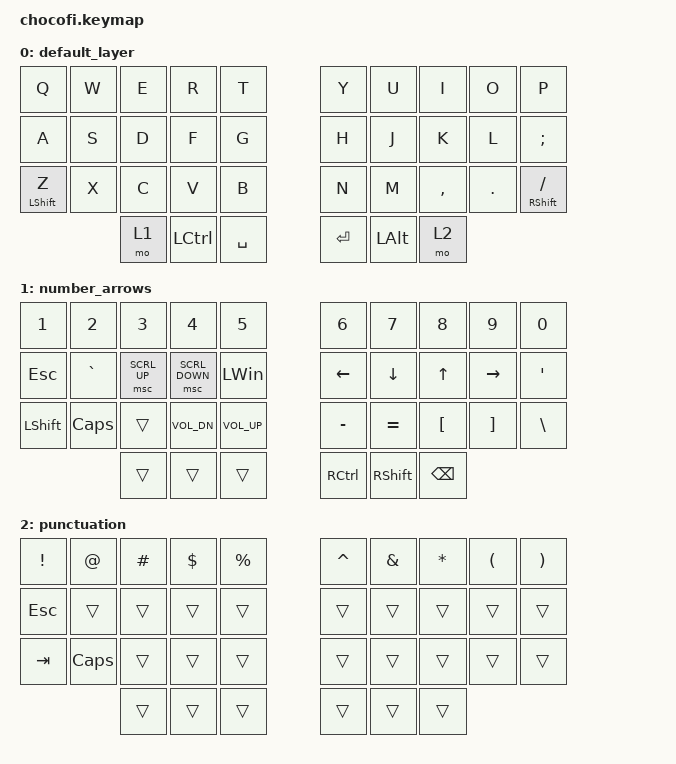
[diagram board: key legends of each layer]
#include <behaviors.dtsi>
#include <dt-bindings/zmk/keys.h>
#include <dt-bindings/zmk/pointing.h>

#define BASE 0
#define EXT  1
#define NAV  2
#define FUN  3
#define ADJ  4// macros definition
#define undo LC(Z)
#define redo LC(LS(Z))
#define prev_screen LC(LG(LEFT))
#define next_screen LC(LG(RIGHT))
#define meh LC(LS(LALT))
#define prev_win LA(TAB)
#define next_win LA(LS(TAB))
#define deg RA(LS(SEMI))// tune mod tap

// caps word settings
// main tree

/ {
    conditional_layers { compatible = "zmk,conditional-layers"; };

    behaviors {
        // HOME ROW MODS
        // TAP DANCES
    };

    // macros
    // combos for accents dead keys (for US_intl_altgr_deadkeys OS layout)

    combos { compatible = "zmk,combos"; };

    keymap {
        compatible = "zmk,keymap";

        default_layer {
            // ----------------------------------------------------------------------------------------------------------------------------
            // |    Q    |    W    |    F    |    P    |    B    |                      |    J    |    L    |    I    |    Y    |    ;    |
            // |    A    |    R    |    S    |    T    |    G    |                      |    M    |    N    |    E    |    I    |    O    |
            // |    Z    |    X    |    C    |    D    |    V    |                      |    K    |    H    |    ,    |    .    |    /    |
            //                               |   ESC   |  SPACE  |   TAB   |  |  RETURN |BACKSPACE|   DEL   |

            bindings = <
&kp Q             &kp W  &kp E  &kp R      &kp T      &kp Y      &kp U         &kp I      &kp O    &kp P
&kp A             &kp S  &kp D  &kp F      &kp G      &kp H      &kp J         &kp K      &kp L    &kp SEMICOLON
&mt LEFT_SHIFT Z  &kp X  &kp C  &kp V      &kp B      &kp N      &kp M         &kp COMMA  &kp DOT  &mt RIGHT_SHIFT SLASH
                         &mo 1  &kp LCTRL  &kp SPACE  &kp ENTER  &kp LEFT_ALT  &mo 2
            >;
        };

        number_arrows {
            bindings = <
&kp NUMBER_1    &kp NUMBER_2  &kp NUMBER_3  &kp N4          &kp N5        &kp N6     &kp N7           &kp N8         &kp N9     &kp N0
&kp ESC         &kp GRAVE     &msc SCRL_UP  &msc SCRL_DOWN  &kp LEFT_WIN  &kp LEFT   &kp DOWN         &kp UP_ARROW   &kp RIGHT  &kp SQT
&kp LEFT_SHIFT  &kp CAPS      &trans        &kp C_VOL_DN    &kp C_VOL_UP  &kp MINUS  &kp EQUAL        &kp LBKT       &kp RBKT   &kp BSLH
                              &trans        &trans          &trans        &kp RCTRL  &kp RIGHT_SHIFT  &kp BACKSPACE
            >;
        };

        punctuation {
            bindings = <
&kp EXCLAMATION  &kp AT_SIGN   &kp HASH  &kp DOLLAR  &kp PERCENT  &kp CARET  &kp AMPERSAND  &kp ASTERISK  &kp LEFT_PARENTHESIS  &kp RIGHT_PARENTHESIS
&kp ESCAPE       &trans        &trans    &trans      &trans       &trans     &trans         &trans        &trans                &trans
&kp TAB          &kp CAPSLOCK  &trans    &trans      &trans       &trans     &trans         &trans        &trans                &trans
                               &trans    &trans      &trans       &trans     &trans         &trans
            >;
        };
    };
};
